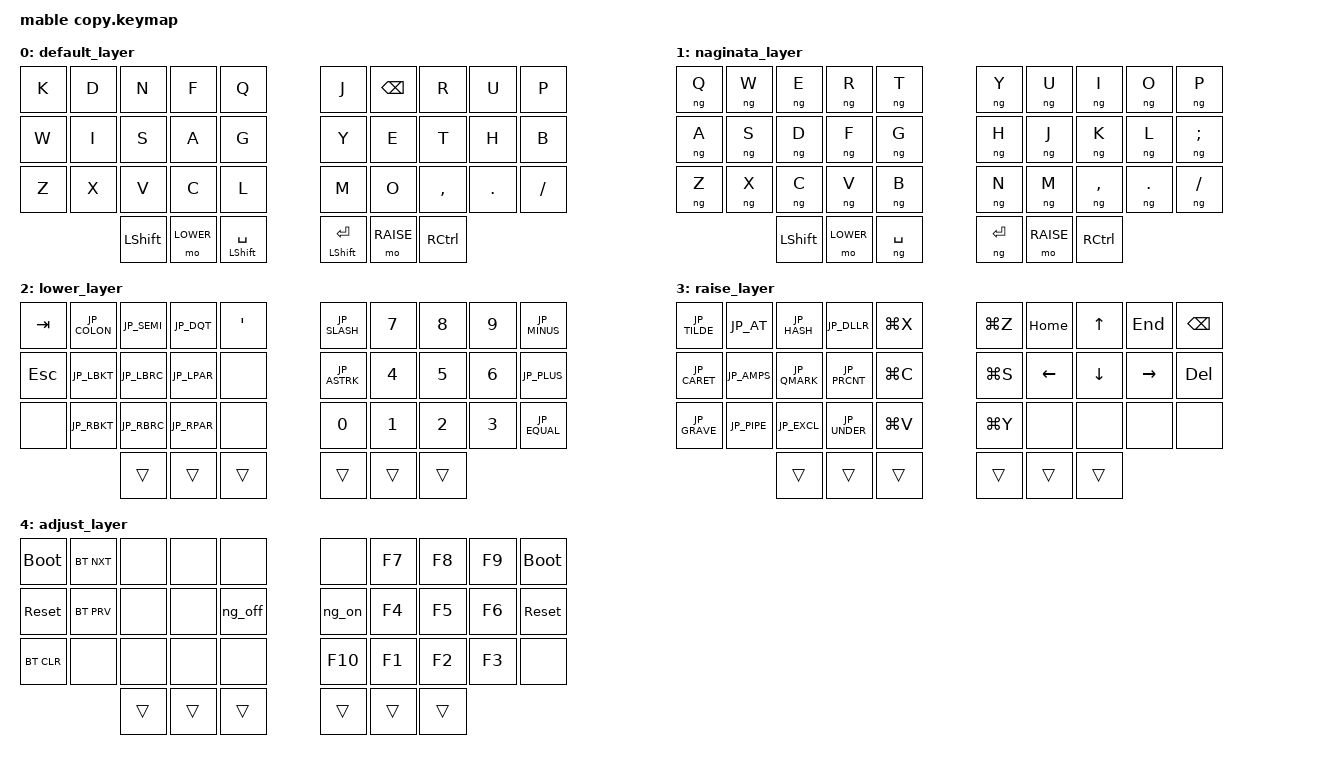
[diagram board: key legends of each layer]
#define ZMK_BEHAVIORS_OMIT_KT

#undef ZMK_BEHAVIORS_KEEP_ALL

#define ZMK_BEHAVIORS_KEEP_SK
#define ZMK_BEHAVIORS_KEEP_MT
#define ZMK_BEHAVIORS_KEEP_KT

#include <behaviors.dtsi>
#include <dt-bindings/zmk/keys.h>
#include <dt-bindings/zmk/bt.h>
#include <dt-bindings/zmk/outputs.h>
// #include "keycode_japanese.h"

#define DEFAULT  0
#define NAGINATA 1
#define LOWER    2
#define RAISE    3
#define ADJUST   4

#define CONFIG_ZMK_MACRO_DEFAULT_WAIT_MS 40
#define CONFIG_ZMK_MACRO_DEFAULT_TAP_MS 40

/ {

    conditional_layers {
        compatible = "zmk,conditional-layers";
        tri_layer {
            if-layers = <2 3>;
            then-layer = <4>;
        };
    };

    macros {
        ng_on: ng_on {
//            label = "ZM_ng_on";
            compatible = "zmk,behavior-macro";
            #binding-cells = <0>;
            bindings
                = <&macro_tap &kp LANGUAGE_1 &kp INTERNATIONAL_4 &to 1>
                ;
        };
        ng_off: ng_off {
//            label = "ZM_ng_off";
            compatible = "zmk,behavior-macro";
            #binding-cells = <0>;
            bindings
                = <&macro_tap &kp LANGUAGE_2 &kp INTERNATIONAL_5 &to 0>
                ;
        };
    };

    combos {
        compatible = "zmk,combos";
        combo_ng_on {
            timeout-ms = <300>;
            key-positions = <15 16>;
            bindings = <&ng_on>;
            layers = <0>;
        };
        combo_ng_off {
            timeout-ms = <300>;
            key-positions = <13 14>;
            bindings = <&ng_off>;
            layers = <0 1>;
        };
    };

    keymap {
        compatible = "zmk,keymap";
/*
        default_layer {
            bindings = <
            // +----------+----------+----------+----------+----------+----------+----------+----------+----------+----------
                &kp Q      &kp W      &kp E      &kp R      &kp T      &kp Y      &kp U      &kp I      &kp O      &kp P
                &kp A      &kp S      &kp D      &kp F      &kp G      &kp H      &kp J      &kp K      &kp L      &kp SEMI
                &kp Z      &kp X      &kp C      &kp V      &kp B      &kp N      &kp M      &kp COMMA  &kp DOT    &kp SLASH
                                      &kp LSHIFT &mo LOWER  &mt LSHFT SPACE  &mt LSHFT ENTER  &mo RAISE  &kp RCTRL
                >;
        };
*/
        default_layer {
            bindings = <
            // +----------+----------+----------+----------+----------+----------+----------+----------+----------+----------
                &kp K      &kp D      &kp N      &kp F      &kp Q      &kp J      &kp BSPC   &kp R      &kp U      &kp P
                &kp W      &kp I      &kp S      &kp A      &kp G      &kp Y      &kp E      &kp T      &kp H      &kp B
                &kp Z      &kp X      &kp V      &kp C      &kp L      &kp M      &kp O      &kp COMMA  &kp DOT    &kp SLASH
                                      &kp LSHIFT &mo LOWER  &mt LSHFT SPACE  &mt LSHFT ENTER  &mo RAISE  &kp RCTRL
                >;
        };

        naginata_layer {
            bindings = <
            // +----------+----------+----------+----------+----------+----------+----------+----------+----------+----------
                &ng Q      &ng W      &ng E      &ng R      &ng T      &ng Y      &ng U      &ng I      &ng O      &ng P
                &ng A      &ng S      &ng D      &ng F      &ng G      &ng H      &ng J      &ng K      &ng L      &ng SEMI
                &ng Z      &ng X      &ng C      &ng V      &ng B      &ng N      &ng M      &ng COMMA  &ng DOT    &ng SLASH
                                      &kp LSHIFT &mo LOWER  &ng SPACE  &ng ENTER  &mo RAISE  &kp RCTRL
                >;
        };
 
        lower_layer {
            bindings = <
            // +-----------+-----------+-----------+-----------+-----------+-----------+-----------+-----------+-----------+----------
                &kp TAB     &kp JP_COLON  &kp JP_SEMI   &kp JP_DQT    &kp SQT    &kp JP_SLASH  &kp N7     &kp N8     &kp N9     &kp JP_MINUS
                &kp ESC     &kp JP_LBKT   &kp JP_LBRC   &kp JP_LPAR   &none      &kp JP_ASTRK  &kp N4     &kp N5     &kp N6     &kp JP_PLUS
                &none       &kp JP_RBKT   &kp JP_RBRC   &kp JP_RPAR   &none      &kp N0        &kp N1     &kp N2     &kp N3     &kp JP_EQUAL     
                                          &trans        &trans        &trans     &trans        &trans     &trans
                >;
        };

        raise_layer {
            bindings = <
            // +----------+----------+----------+----------+----------+----------+----------+----------+----------+----------
                &kp JP_TILDE  &kp JP_AT     &kp JP_HASH   &kp JP_DLLR   &kp LG(X)  &kp LG(Z)   &kp HOME   &kp UP     &kp END    &kp BSPC
                &kp JP_CARET  &kp JP_AMPS   &kp JP_QMARK  &kp JP_PRCNT  &kp LG(C)  &kp LG(S)   &kp LEFT   &kp DOWN   &kp RIGHT  &kp DEL
                &kp JP_GRAVE  &kp JP_PIPE   &kp JP_EXCL   &kp JP_UNDER  &kp LG(V)  &kp LG(Y)   &none      &none      &none      &none
                                            &trans        &trans        &trans     &trans      &trans     &trans
                >;
        };

        adjust_layer {
            bindings = <
            // +---------- +----------+----------+----------+----------+----------+----------+----------+----------+----------
                &bootloader &bt BT_NXT &none      &none      &none      &none      &kp F7     &kp F8     &kp F9     &bootloader 
                &sys_reset  &bt BT_PRV &none      &none      &ng_off    &ng_on     &kp F4     &kp F5     &kp F6     &sys_reset  
                &bt BT_CLR  &none      &none      &none      &none      &kp F10    &kp F1     &kp F2     &kp F3     &none
                                       &trans     &trans     &trans     &trans     &trans     &trans
                >;
        };

    };
};
